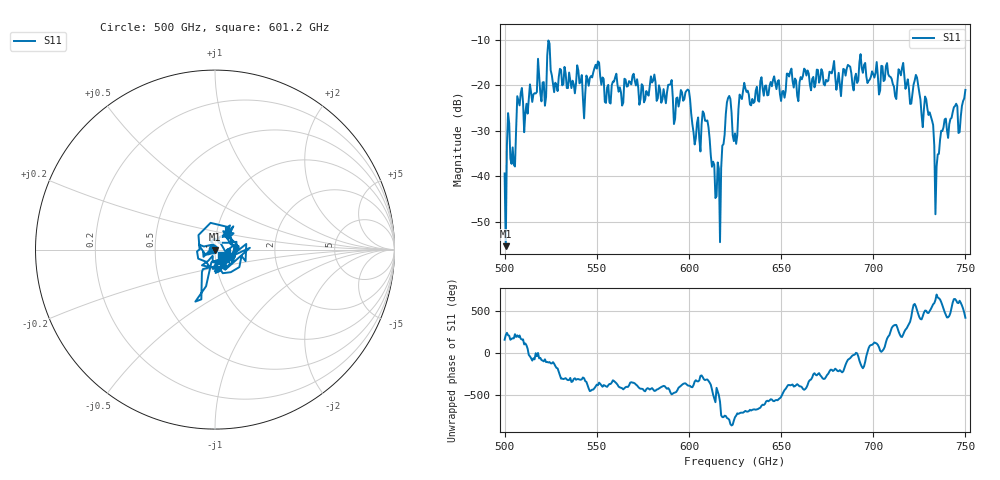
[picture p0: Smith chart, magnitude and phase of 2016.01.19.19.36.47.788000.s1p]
!Created with skrf (http://scikit-rf.org).
# GHz S RI R 50.0
!freq ReS11 ImS11
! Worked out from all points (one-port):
!   401 points, 500 GHz to 750 GHz, reference 50 ohm
!   lowest |S11| = -55.4 dB at 500.6 GHz (marker M1), VSWR 1.00, Z = 49.9 - j0.0954 ohm
!   |S11| at or under -10 dB: start of sweep to end of sweep
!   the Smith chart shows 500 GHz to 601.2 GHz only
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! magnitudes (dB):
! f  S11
! 500 GHz  -39.4
! 500.6 GHz  -55.4
! 502.5 GHz  -28.4
! 505 GHz  -37.5
! 508.1 GHz  -24.5
! 521.2 GHz  -19.3
! 524.4 GHz  -10.8
! 527.5 GHz  -19.5
! 531.2 GHz  -20.1
! 543.8 GHz  -21.9
! 550 GHz  -16.4
! 562.5 GHz  -20.5
! 580.6 GHz  -19.0
! 593.8 GHz  -22.7
! 599.4 GHz  -21.0
! 603.1 GHz  -33.0
! 608.8 GHz  -27.8
! 615.6 GHz  -37.0
! 621.2 GHz  -22.8
! 625 GHz  -30.6
! 630.6 GHz  -20.7
! 656.2 GHz  -19.1
! 687.5 GHz  -16.0
! 718.8 GHz  -18.7
! 729.4 GHz  -25.2
! 734.4 GHz  -37.9
! 738.1 GHz  -29.3
! 750 GHz  -21.1
